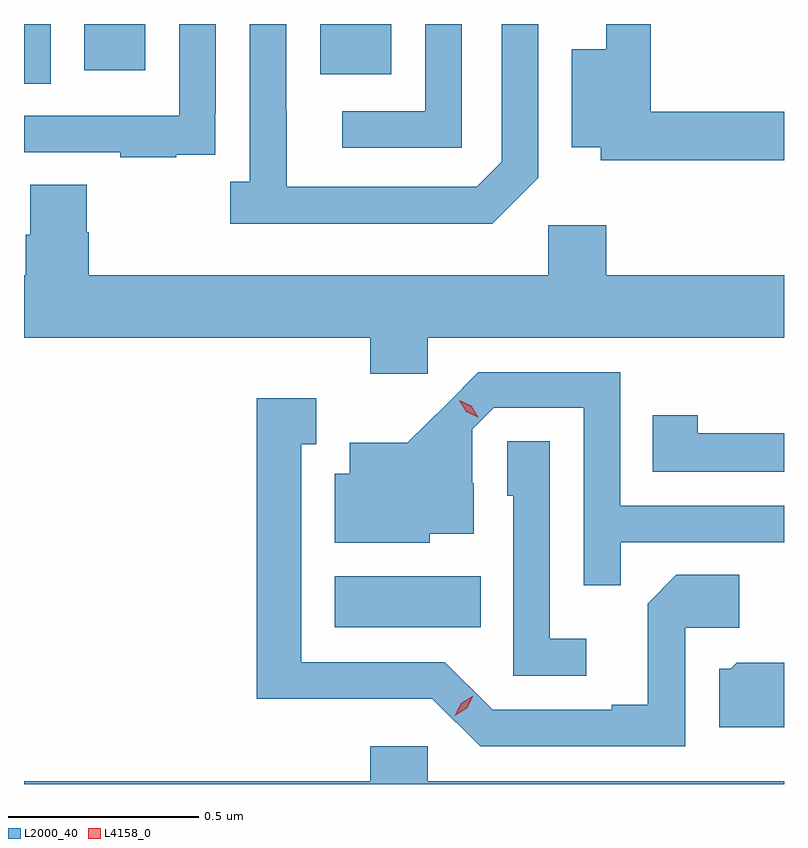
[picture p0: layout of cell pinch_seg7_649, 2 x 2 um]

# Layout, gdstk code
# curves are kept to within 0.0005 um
import gdstk
lib = gdstk.Library(unit=1e-6, precision=1e-09)
def R(c, l, rs):  # rectangles x0, y0, x1, y1
    for r in rs: c.add(gdstk.rectangle(r[:2], r[2:], *l))
def P(c, l, *ps):  # polygons
    for p in ps: c.add(gdstk.Polygon(p, *l))
L2000_40 = (2000, 40)
L4158_0 = (4158, 0)

pinch_seg7_649 = lib.new_cell('pinch_seg7_649')
R(pinch_seg7_649, L2000_40, [(154.688,1038.482,155.072,1038.616), (153.87,1039.912,153.94,1040.069), (154.649,1039.937,154.837,1040.069), (154.028,1039.947,154.189,1040.069)])
P(pinch_seg7_649, L2000_40, [(155.87,1039.838),(155.519,1039.838),(155.519,1040.069),(155.402,1040.069),(155.402,1040.002),(155.312,1040.002),(155.312,1039.745),(155.388,1039.745),(155.388,1039.71),(155.87,1039.71)],
  [(155.022,1040.069),(154.926,1040.069),(154.926,1039.839),(154.707,1039.839),(154.707,1039.743),(155.022,1039.743)],
  [(154.271,1039.725),(154.373,1039.725),(154.373,1039.834),(154.374,1039.834),(154.374,1040.069),(154.278,1040.069),(154.278,1039.827),(153.87,1039.827),(153.87,1039.731),(154.123,1039.731),(154.123,1039.719),(154.271,1039.719)],
  [(155.223,1039.665),(155.223,1040.069),(155.127,1040.069),(155.127,1039.707),(155.061,1039.641),(154.561,1039.641),(154.561,1039.841),(154.56,1039.841),(154.56,1040.069),(154.464,1040.069),(154.464,1039.654),(154.413,1039.654),(154.413,1039.544),(155.102,1039.544)],
  [(154.932,1039.244),(155.87,1039.244),(155.87,1039.408),(155.402,1039.408),(155.402,1039.54),(155.25,1039.54),(155.25,1039.408),(154.04,1039.408),(154.04,1039.521),(154.035,1039.521),(154.035,1039.646),(153.887,1039.646),(153.887,1039.514),(153.875,1039.514),(153.875,1039.408),(153.87,1039.408),(153.87,1039.244),(154.781,1039.244),(154.781,1039.149),(154.932,1039.149)],
  [(155.441,1038.705),(155.87,1038.705),(155.87,1038.801),(155.439,1038.801),(155.439,1039.152),(155.066,1039.152),(154.879,1038.967),(154.727,1038.967),(154.727,1038.886),(154.688,1038.886),(154.688,1038.704),(154.938,1038.704),(154.938,1038.728),(155.053,1038.728),(155.053,1038.86),(155.049,1038.86),(155.049,1039.002),(155.106,1039.059),(155.343,1039.059),(155.343,1038.592),(155.441,1038.592)],
  [(155.61,1038.48),(155.752,1038.48),(155.752,1038.62),(155.587,1038.62),(155.511,1038.544),(155.511,1038.277),(155.417,1038.277),(155.417,1038.264),(155.103,1038.264),(154.977,1038.39),(154.6,1038.39),(154.6,1038.963),(154.639,1038.963),(154.639,1039.084),(154.482,1039.084),(154.482,1038.293),(154.722,1038.293),(154.722,1038.294),(154.944,1038.294),(155.07,1038.168),(155.61,1038.168)],
  [(155.87,1038.992),(155.643,1038.992),(155.643,1039.039),(155.524,1039.039),(155.524,1038.891),(155.87,1038.891)],
  [(155.35,1038.451),(155.253,1038.451),(155.253,1038.971),(155.142,1038.971),(155.142,1038.828),(155.157,1038.828),(155.157,1038.354),(155.35,1038.354)],
  [(155.87,1038.388),(155.746,1038.388),(155.73,1038.372),(155.699,1038.372),(155.699,1038.218),(155.87,1038.218)],
  [(155.87,1038.076),(154.932,1038.076),(154.932,1038.169),(154.781,1038.169),(154.781,1038.076),(153.87,1038.076),(153.87,1038.069),(155.87,1038.069)])
P(pinch_seg7_649, L4158_0, [(155.064,1039.034),(155.034,1039.049),(155.016,1039.079),(155.016,1039.079),(155.016,1039.079),(155.047,1039.064),(155.065,1039.034),(155.065,1039.034)],
  [(155.003,1038.249),(155.003,1038.249),(155.021,1038.282),(155.052,1038.301),(155.052,1038.301),(155.052,1038.301),(155.035,1038.268),(155.004,1038.249)])

lib.write_gds('pinch_seg7_649.gds')
